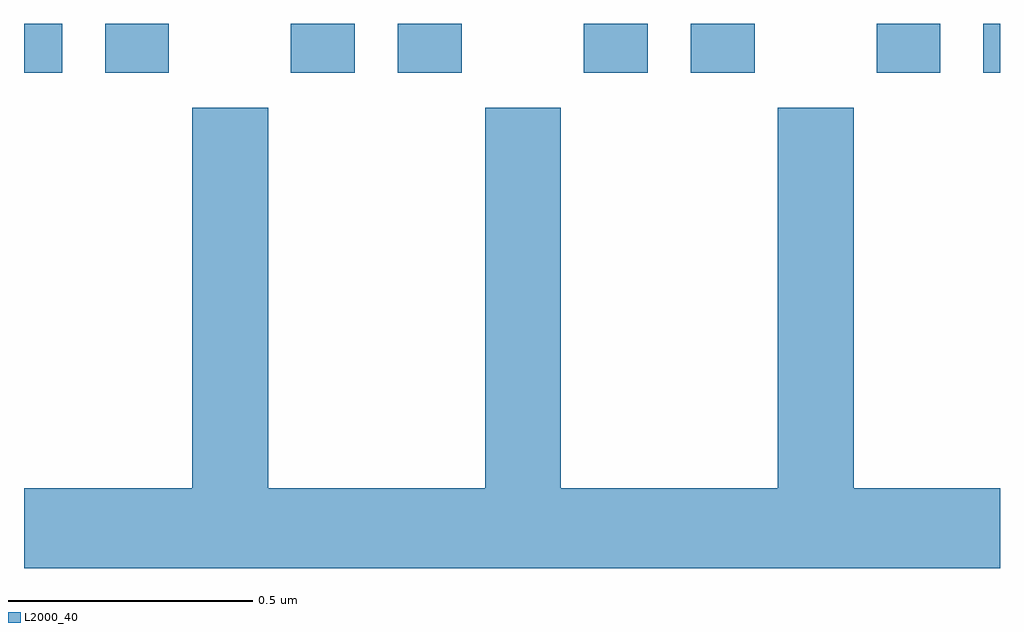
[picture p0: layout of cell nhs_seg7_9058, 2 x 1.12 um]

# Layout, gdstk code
import gdstk
lib = gdstk.Library(unit=1e-6, precision=1e-09)
def R(c, l, rs):  # rectangles x0, y0, x1, y1
    for r in rs: c.add(gdstk.rectangle(r[:2], r[2:], *l))
def P(c, l, *ps):  # polygons
    for p in ps: c.add(gdstk.Polygon(p, *l))
L2000_40 = (2000, 40)

nhs_seg7_9058 = lib.new_cell('nhs_seg7_9058')
R(nhs_seg7_9058, L2000_40, [(232,1066.899,232.078,1067), (232.166,1066.899,232.297,1067), (232.547,1066.899,232.678,1067), (232.766,1066.899,232.897,1067), (233.147,1066.899,233.278,1067), (233.366,1066.899,233.497,1067), (233.747,1066.899,233.878,1067), (233.966,1066.899,234,1067)])
P(nhs_seg7_9058, L2000_40, [(234,1066.048),(233.7,1066.048),(233.7,1066.828),(233.545,1066.828),(233.545,1066.048),(233.1,1066.048),(233.1,1066.828),(232.945,1066.828),(232.945,1066.048),(232.5,1066.048),(232.5,1066.828),(232.345,1066.828),(232.345,1066.048),(232,1066.048),(232,1065.884),(234,1065.884)])

lib.write_gds('nhs_seg7_9058.gds')
